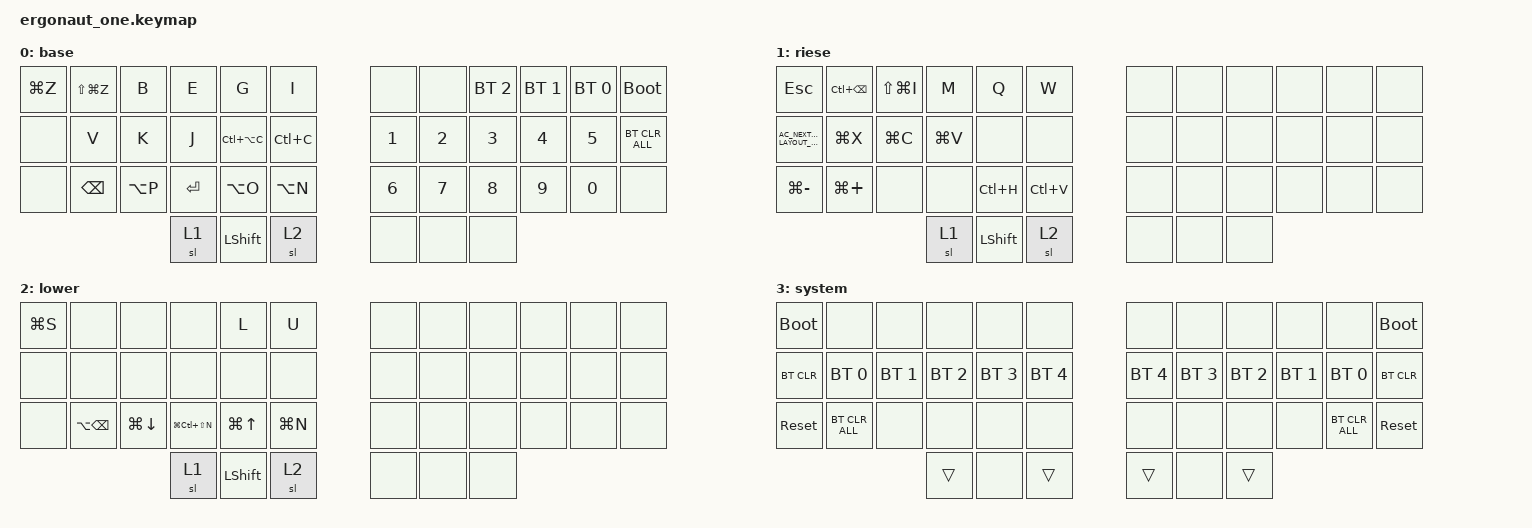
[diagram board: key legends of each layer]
#include <behaviors.dtsi>
#include <dt-bindings/zmk/bt.h>
#include <dt-bindings/zmk/keys.h>

#define DEF 0
#define LWR 1
#define RSE 2
#define ADJ 3

&lt { quick-tap-ms = <200>; };

&mt { quick-tap-ms = <200>; };

/ {
    conditional_layers {
        compatible = "zmk,conditional-layers";

        tri-layer {
            if-layers = <3 3>;
            then-layer = <3>;
        };
    };

    keymap {
        compatible = "zmk,keymap";

        base {
            bindings = <
&kp LG(Z)  &kp LS(LG(Z))  &kp B      &kp E    &kp G           &kp I      &none         &none         &bt BT_SEL 2  &bt BT_SEL 1  &bt BT_SEL 0  &bootloader
&none      &kp V          &kp K      &kp J    &kp LC(LA(C))   &kp LC(C)  &kp NUMBER_1  &kp NUMBER_2  &kp NUMBER_3  &kp NUMBER_4  &kp N5        &bt BT_CLR_ALL
&none      &kp BACKSPACE  &kp LA(P)  &kp RET  &kp LA(O)       &kp LA(N)  &kp NUMBER_6  &kp N7        &kp N8        &kp N9        &kp N0        &none
                                     &sl 1    &kp LEFT_SHIFT  &sl 2      &none         &none         &none
            >;
        };

        riese {
            bindings = <
&kp ESCAPE                            &kp LC(BACKSPACE)  &kp LS(LG(I))  &kp M      &kp Q           &kp W      &none  &none  &none  &none  &none  &none
&kp C_AC_NEXT_KEYBOARD_LAYOUT_SELECT  &kp LG(X)          &kp LG(C)      &kp LG(V)  &none           &none      &none  &none  &none  &none  &none  &none
&kp LG(MINUS)                         &kp LG(PLUS)       &none          &none      &kp LC(H)       &kp LC(V)  &none  &none  &none  &none  &none  &none
                                                                        &sl 1      &kp LEFT_SHIFT  &sl 2      &none  &none  &none
            >;
        };

        lower {
            bindings = <
&kp LG(S)  &none              &none               &none              &kp L             &kp U      &none  &none  &none  &none  &none  &none
&none      &none              &none               &none              &none             &none      &none  &none  &none  &none  &none  &none
&none      &kp LA(BACKSPACE)  &kp LG(DOWN_ARROW)  &kp LG(LC(LS(N)))  &kp LG(UP_ARROW)  &kp LG(N)  &none  &none  &none  &none  &none  &none
                                                  &sl 1              &kp LEFT_SHIFT    &sl 2      &none  &none  &none
            >;
        };

        system {
            bindings = <
&bootloader  &none           &none         &none         &none         &none         &none         &none         &none         &none         &none           &bootloader
&bt BT_CLR   &bt BT_SEL 0    &bt BT_SEL 1  &bt BT_SEL 2  &bt BT_SEL 3  &bt BT_SEL 4  &bt BT_SEL 4  &bt BT_SEL 3  &bt BT_SEL 2  &bt BT_SEL 1  &bt BT_SEL 0    &bt BT_CLR
&sys_reset   &bt BT_CLR_ALL  &none         &none         &none         &none         &none         &none         &none         &none         &bt BT_CLR_ALL  &sys_reset
                                           &trans        &none         &trans        &trans        &none         &trans
            >;
        };
    };
};
